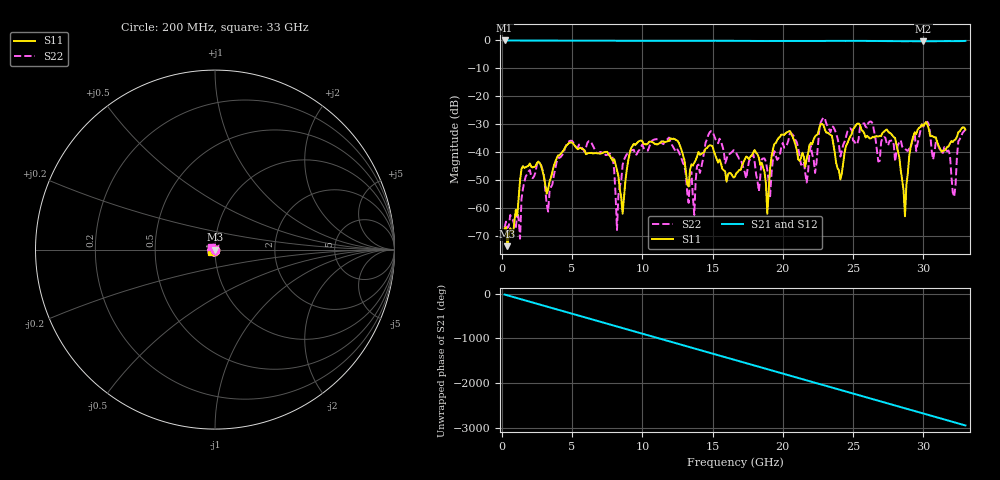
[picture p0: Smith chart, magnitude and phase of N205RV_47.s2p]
# GHZ S RI R 50
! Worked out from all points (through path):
!   329 points, 200 MHz to 33 GHz, reference 50 ohm
!   highest |S21| = -0.02 dB at 200 MHz (marker M1); lowest = -0.3 dB at 30 GHz (marker M2)
!   group delay of S21, straight-line fit = 248 ps
!   lowest |S11| = -73.8 dB at 400 MHz (marker M3), VSWR 1.00, Z = 50 + j0.000527 ohm
!   |S11| at or under -10 dB: start of sweep to end of sweep
!   |S22| runs from -71.1 to -27.6 dB; largest |S21 - S12| = 0.0019
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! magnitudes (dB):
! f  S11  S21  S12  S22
! 200 MHz  -67.6  0.0  0.0  -67.2
! 400 MHz  -73.8  0.0  0.0  -67.3
! 1.3 GHz  -50.1  -0.1  -0.1  -71.1
! 1.5 GHz  -45.1  -0.1  -0.1  -53.3
! 5.7 GHz  -38.9  -0.1  -0.1  -38.5
! 7.9 GHz  -43.2  -0.1  -0.1  -42.3
! 8.2 GHz  -46.6  -0.1  -0.1  -68.0
! 8.8 GHz  -50.3  -0.1  -0.1  -41.7
! 11.2 GHz  -36.9  -0.2  -0.2  -36.0
! 13.7 GHz  -43.9  -0.1  -0.1  -62.6
! 14.8 GHz  -37.6  -0.1  -0.1  -32.9
! 16.6 GHz  -48.8  -0.2  -0.2  -39.6
! 18 GHz  -39.3  -0.2  -0.2  -43.6
! 18.9 GHz  -62.2  -0.2  -0.2  -46.5
! 19.4 GHz  -37.1  -0.2  -0.2  -39.7
! 22.1 GHz  -37.3  -0.2  -0.2  -41.0
! 27.6 GHz  -33.2  -0.3  -0.3  -36.0
! 28.7 GHz  -63.1  -0.3  -0.3  -38.8
! 29.1 GHz  -38.3  -0.3  -0.3  -38.7
! 30 GHz  -30.7  -0.3  -0.3  -30.9
! 32.2 GHz  -35.9  -0.3  -0.3  -56.2
! 33 GHz  -32.0  -0.2  -0.2  -32.0
